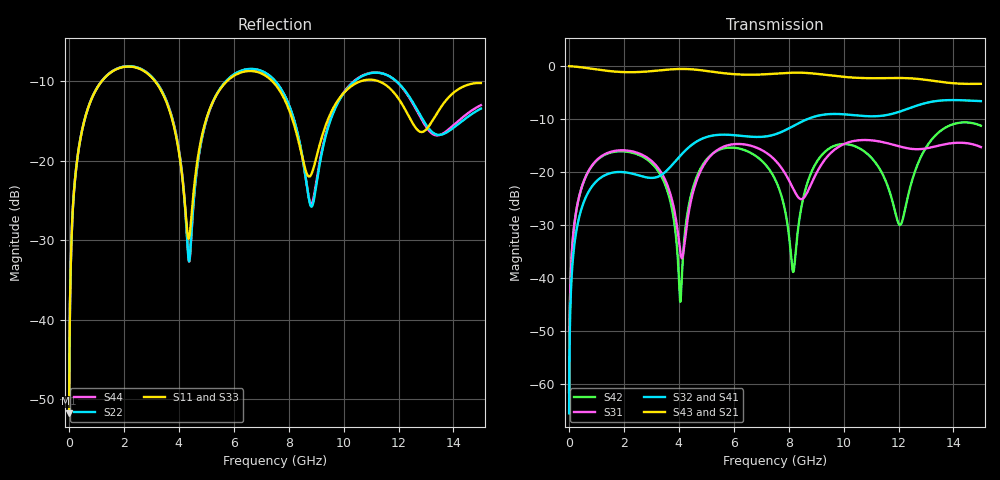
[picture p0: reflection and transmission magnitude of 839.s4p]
! Created with skrf 1.8.0 (http://scikit-rf.org).
# GHz S RI R 50.0
!freq ReS11 ImS11 ReS12 ImS12 ReS13 ImS13
! ReS14 ImS14
! ReS21 ImS21 ReS22 ImS22 ReS23 ImS23
! ReS24 ImS24
! ReS31 ImS31 ReS32 ImS32 ReS33 ImS33
! ReS34 ImS34
! ReS41 ImS41 ReS42 ImS42 ReS43 ImS43
! ReS44 ImS44
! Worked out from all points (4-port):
!   2499 points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, 5 MHz to 15 GHz, reference 50 ohm
!   strongest paths, dB at 5 MHz, 3.476 GHz, 7.19 GHz, 11.1 GHz, 15 GHz:
!     S43: 0.0, -0.7, -1.5, -2.3, -3.3
!     S21: 0.0, -0.7, -1.5, -2.3, -3.3
!     S32: -65.6, -20.1, -13.3, -9.5, -6.6
!     S41: -65.6, -20.2, -13.3, -9.5, -6.7
!     S31: -61.7, -21.2, -16.4, -14.1, -15.3
!     S42: -61.7, -22.1, -18.8, -17.8, -11.3
!   lowest |S11| = -51.8 dB at 5 MHz (marker M1), VSWR 1.01, Z = 50.2 + j0.156 ohm
!   |S11| at or under -10 dB: 3.132 GHz to 5.754 GHz (2.622 GHz wide, 59 % of centre); 7.403 GHz to 10.63 GHz (3.227 GHz wide, 35.8 % of centre); 11.27 GHz to end of sweep (the widest 3 of 4)
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0.005  0.00205 0.00155  0.9979 -0.00398  0.000105 0.00082  -0.000101 -0.000514
       0.9979 -0.00398  0.00205 0.00155  -0.000101 -0.000514  0.000104 0.00082
       0.000105 0.00082  -0.000101 -0.000514  0.00205 0.00155  0.9979 -0.00398
       -0.000101 -0.000514  0.000104 0.00082  0.9979 -0.00398  0.00205 0.00155
1.3193  0.2884 0.1695  0.5062 -0.752  0.1383 0.0517  -0.0933 0.000963
        0.5062 -0.752  0.2904 0.1681  -0.0933 0.00105  0.1327 0.0602
        0.1383 0.0517  -0.0933 0.00105  0.2884 0.1696  0.5062 -0.752
        -0.0933 0.000963  0.1327 0.0602  0.5062 -0.752  0.2905 0.1681
4.051688  0.0514 -0.0852  -0.893 -0.2916  -0.0152 -0.00938  -0.0401 0.1363
          -0.893 -0.2916  0.0435 -0.0916  -0.039 0.1366  0.00592 0.000328
          -0.0152 -0.00938  -0.039 0.1366  0.0521 -0.0864  -0.8928 -0.2918
          -0.0401 0.1363  0.00592 0.000328  -0.8928 -0.2918  0.0437 -0.093
5.170905  0.1535 0.1584  -0.7694 0.4415  0.1176 0.0816  0.1383 0.1696
          -0.7694 0.4415  0.1483 0.162  0.1398 0.1687  0.115 0.0878
          0.1176 0.0816  0.1398 0.1687  0.1527 0.1566  -0.7697 0.4417
          0.1383 0.1696  0.115 0.0878  -0.7697 0.4417  0.1474 0.1609
8.797416  0.0801 0.00744  0.8476 0.1168  -0.0189 0.0721  0.038 -0.3214
          0.8476 0.1168  0.0509 -0.0115  0.0337 -0.3221  0.0181 0.0934
          -0.0189 0.0721  0.0337 -0.3221  0.0778 0.00806  0.848 0.1142
          0.038 -0.3214  0.0181 0.0934  0.848 0.1142  0.053 -0.00946
11.5173  0.2958 -0.0545  -0.1092 -0.7618  0.0227 -0.1875  -0.3338 0.0744
         -0.1092 -0.7618  0.343 -0.0642  -0.3326 0.0825  0.0464 -0.0701
         0.0227 -0.1875  -0.3326 0.0825  0.2954 -0.0503  -0.1136 -0.7611
         -0.3338 0.0744  0.0464 -0.0701  -0.1136 -0.7611  0.3422 -0.0703
15  0.308 -0.00747  -0.3939 0.5567  0.1715 0.0092  0.4171 0.2047
    -0.3939 0.5567  0.2114 0.0209  0.4237 0.1952  0.2711 -0.0345
    0.1715 0.0092  0.4237 0.1952  0.3088 -0.00576  -0.385 0.5606
    0.4171 0.2047  0.2711 -0.0345  -0.385 0.5606  0.2225 0.0179
